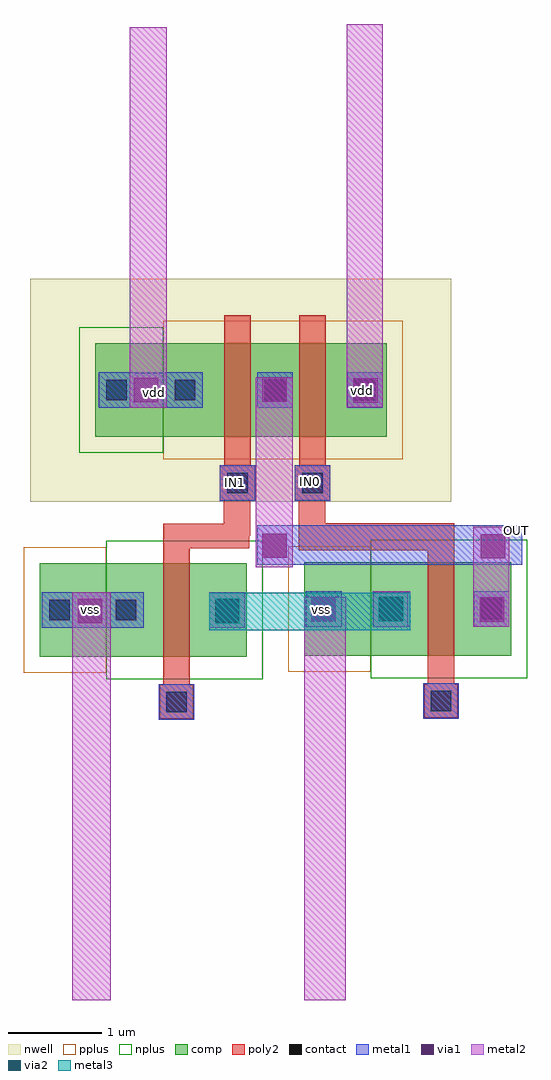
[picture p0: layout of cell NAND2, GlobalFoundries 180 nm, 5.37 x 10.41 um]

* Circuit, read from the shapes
.subckt NAND2 IN0 IN1 OUT vdd vss
XM1 vss IN1 vss vss nfet_03v3 w=1u l=0.28u
XM2 OUT IN0 vss vss nfet_03v3 w=1u l=0.28u
XM3 OUT IN1 vdd vdd pfet_03v3 w=1u l=0.28u
XM4 vdd IN0 OUT vdd pfet_03v3 w=1u l=0.28u
.ends

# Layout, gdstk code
from math import pi, radians
import gdstk
lib = gdstk.Library(unit=1e-6, precision=5e-09)
def R(c, l, rs):  # rectangles x0, y0, x1, y1
    for r in rs: c.add(gdstk.rectangle(r[:2], r[2:], *l))
def A(c, l, x, y, w, h, nx, ny, dx, dy):  # array of equal rectangles
    R(c, l, [(x+i*dx, y+j*dy, x+i*dx+w, y+j*dy+h) for i in range(nx) for j in range(ny)])
nwell = (21, 0)
comp = (22, 0)
poly2 = (30, 0)
pplus = (31, 0)
nplus = (32, 0)
contact = (33, 0)
metal1 = (34, 0)
via1 = (35, 0)
metal2 = (36, 0)
via2 = (38, 0)
metal3 = (42, 0)

pfet_1 = lib.new_cell('pfet$1')
R(pfet_1, nwell, [(-1.15,-0.69,3.34,1.69)])
R(pfet_1, comp, [(-0.46,0,0,1), (0,0,1.46,1), (1.46,0,1.92,1), (1.92,0,2.65,1)])
R(pfet_1, poly2, [(0.19,-0.3,0.47,1.3), (0.99,-0.3,1.27,1.3), (0.14,1.3,0.52,1.68), (0.94,1.3,1.32,1.68)])
R(pfet_1, pplus, [(-0.63,-0.24,1.92,1.24)])
R(pfet_1, nplus, [(1.92,-0.17,2.82,1.17)])
A(pfet_1, contact, -0.34, 0.39, 0.22, 0.22, 3, 1, 0.96, 0)
R(pfet_1, contact, [(2.31,0.39,2.53,0.61), (0.22,1.38,0.44,1.6), (1.02,1.38,1.24,1.6)])
A(pfet_1, metal1, -0.42, 0.31, 0.38, 0.38, 3, 1, 0.96, 0)
R(pfet_1, metal1, [(2.23,0.31,2.61,0.69), (0.14,1.3,0.52,1.68), (0.94,1.3,1.32,1.68)])

nfet = lib.new_cell('nfet')
R(nfet, comp, [(-0.42,0,0,1), (0,0,0.66,1), (0.66,0,1.08,1), (1.08,0,1.79,1)])
R(nfet, poly2, [(0.19,-0.3,0.47,1.3), (0.15,1.3,0.51,1.66)])
R(nfet, pplus, [(1.08,-0.17,1.96,1.17)])
R(nfet, nplus, [(-0.59,-0.24,1.08,1.24)])
R(nfet, contact, [(-0.32,0.39,-0.1,0.61), (0.76,0.39,0.98,0.61), (1.47,0.39,1.69,0.61), (0.22,1.37,0.44,1.59)])
R(nfet, metal1, [(-0.4,0.31,-0.02,0.69), (0.68,0.31,1.06,0.69), (1.39,0.31,1.77,0.69), (0.14,1.29,0.52,1.67)])

nand2 = lib.new_cell('NAND2')
R(nand2, poly2, [(-1.565,-0.695,0.09,-0.405), (-3.01,-0.67,-2.095,-0.41), (-1.565,-0.565,-1.285,-0.52), (-2.365,-0.54,-2.085,-0.165), (-1.565,-0.54,-1.285,-0.165)])
R(nand2, metal1, [(-3.93,-1.52,-3.565,-1.14), (-2.01,-0.85,0.815,-0.425), (-3.32,0.825,-2.97,1.2)])
R(nand2, via1, [(-3.925,-1.47,-3.665,-1.21), (-2.46,-1.47,-2.2,-1.21), (0.365,-1.455,0.625,-1.195), (-1.435,-1.45,-1.175,-1.19), (-0.715,-1.45,-0.455,-1.19), (0.375,-0.78,0.635,-0.52), (-1.955,-0.775,-1.695,-0.515), (-0.985,0.88,-0.725,1.14), (-3.325,0.885,-3.065,1.145), (-1.955,0.89,-1.695,1.15)])
R(nand2, metal2, [(-3.985,-5.49,-3.57,-1.14), (-1.51,-5.49,-1.065,-1.19), (-2.52,-1.52,-2.14,-1.14), (-0.775,-1.51,-0.38,-1.13), (0.295,-1.51,0.68,-0.44), (-2.025,-0.875,-1.63,1.15), (-3.37,0.825,-2.975,4.885), (-1.055,0.83,-0.67,4.92)])
R(nand2, via2, [(-2.46,-1.47,-2.2,-1.21), (-0.715,-1.45,-0.455,-1.19)])
R(nand2, metal3, [(-2.52,-1.545,-0.38,-1.145)])
nand2.add(gdstk.Reference(pfet_1, (-1.09,1.515), rotation=pi))
nand2.add(gdstk.Reference(nfet, (-2.54,-0.83), rotation=pi))
nand2.add(gdstk.Reference(nfet, (0.28,-0.82), rotation=pi))
nand2.add(gdstk.Label('vss', (-1.325,-1.32), layer=34, texttype=10))
nand2.add(gdstk.Label('vdd', (-3.11,0.99), layer=34, texttype=10))
nand2.add(gdstk.Label('vdd', (-0.885,1.015), layer=34, texttype=10))
nand2.add(gdstk.Label('OUT', (0.76,-0.48), layer=34, texttype=10))
nand2.add(gdstk.Label('vss', (-3.785,-1.325), layer=34, texttype=10))
nand2.add(gdstk.Label('IN1', (-2.24,0.025), layer=34, texttype=10))
nand2.add(gdstk.Label('IN0', (-1.44,0.045), layer=34, texttype=10))

lib.write_gds('NAND2.gds')
